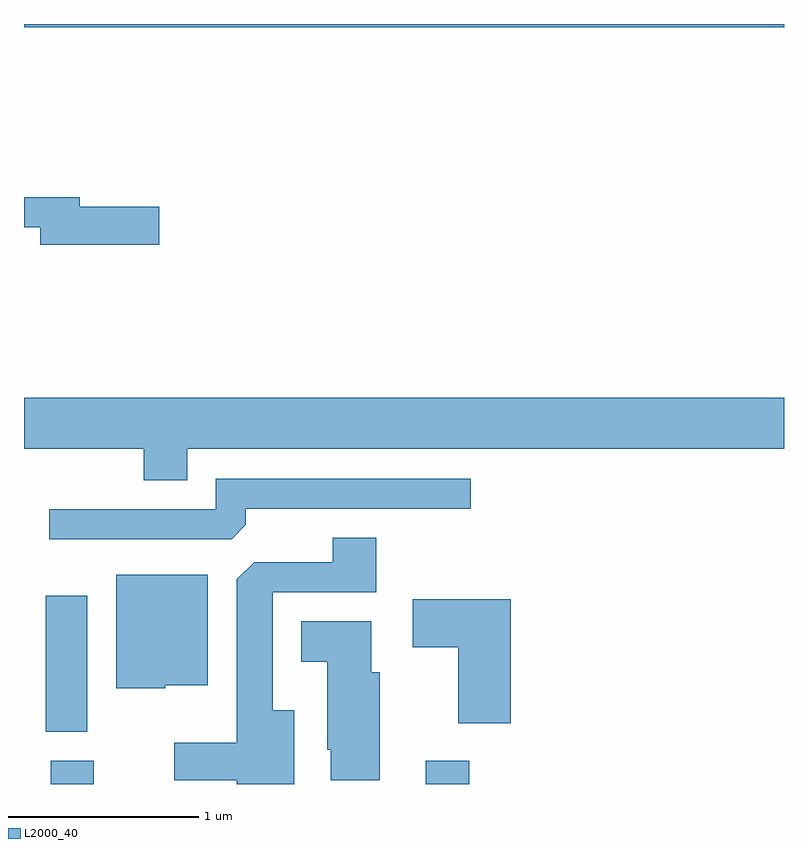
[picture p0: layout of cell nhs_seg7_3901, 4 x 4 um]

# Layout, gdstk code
import gdstk
lib = gdstk.Library(unit=1e-6, precision=1e-09)
def R(c, l, rs):  # rectangles x0, y0, x1, y1
    for r in rs: c.add(gdstk.rectangle(r[:2], r[2:], *l))
def P(c, l, *ps):  # polygons
    for p in ps: c.add(gdstk.Polygon(p, *l))
L2000_40 = (2000, 40)

nhs_seg7_3901 = lib.new_cell('nhs_seg7_3901')
R(nhs_seg7_3901, L2000_40, [(303.751,1790.252,303.979,1790.374), (305.726,1790.252,305.954,1790.374), (303.726,1790.526,303.944,1791.244), (303.611,1794.236,307.611,1794.252)])
P(nhs_seg7_3901, L2000_40, [(304.324,1793.289),(303.904,1793.289),(303.904,1793.339),(303.611,1793.339),(303.611,1793.181),(303.696,1793.181),(303.696,1793.091),(304.324,1793.091)],
  [(304.469,1792.016),(307.611,1792.016),(307.611,1792.284),(303.611,1792.284),(303.611,1792.016),(304.241,1792.016),(304.241,1791.851),(304.469,1791.851)],
  [(304.779,1791.617),(304.779,1791.701),(305.963,1791.701),(305.963,1791.859),(304.621,1791.859),(304.621,1791.699),(303.743,1791.699),(303.743,1791.541),(304.704,1791.541)],
  [(305.034,1790.639),(304.919,1790.639),(304.919,1791.261),(305.464,1791.261),(305.464,1791.549),(305.236,1791.549),(305.236,1791.419),(304.822,1791.419),(304.731,1791.329),(304.731,1790.469),(304.401,1790.469),(304.401,1790.271),(304.731,1790.271),(304.731,1790.252),(305.034,1790.252)],
  [(304.355,1790.771),(304.579,1790.771),(304.579,1791.354),(304.096,1791.354),(304.096,1790.756),(304.355,1790.756)],
  [(306.174,1791.224),(305.656,1791.224),(305.656,1790.971),(305.896,1790.971),(305.896,1790.571),(306.174,1790.571)],
  [(305.484,1790.839),(305.439,1790.839),(305.439,1791.109),(305.071,1791.109),(305.071,1790.896),(305.206,1790.896),(305.206,1790.431),(305.226,1790.431),(305.226,1790.271),(305.484,1790.271)])

lib.write_gds('nhs_seg7_3901.gds')
